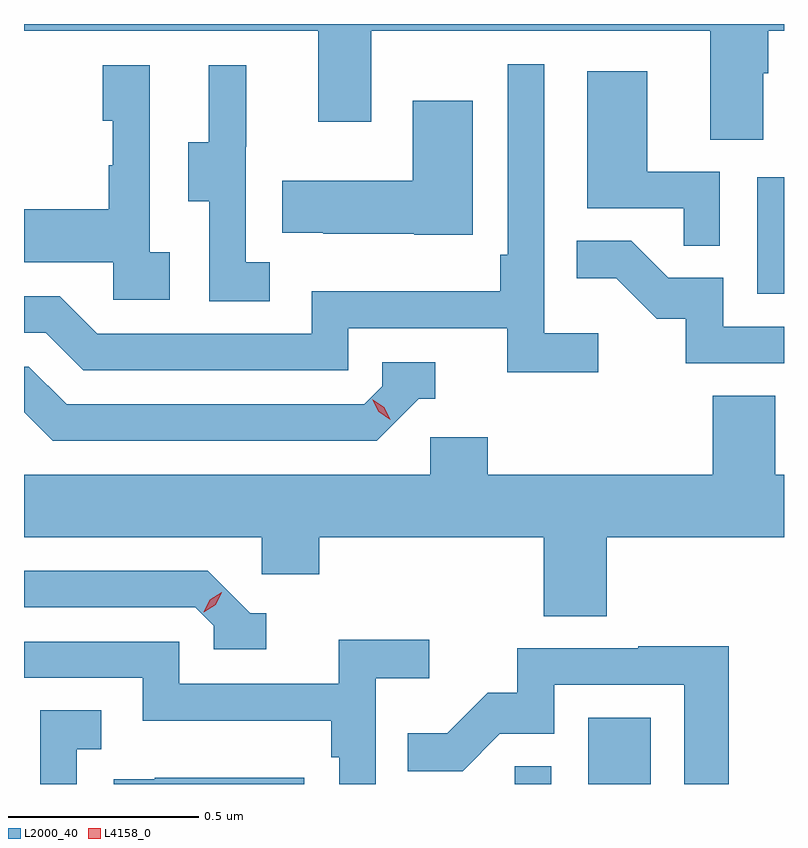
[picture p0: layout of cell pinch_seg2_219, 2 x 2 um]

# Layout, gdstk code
import gdstk
lib = gdstk.Library(unit=1e-6, precision=1e-09)
def R(c, l, rs):  # rectangles x0, y0, x1, y1
    for r in rs: c.add(gdstk.rectangle(r[:2], r[2:], *l))
def P(c, l, *ps):  # polygons
    for p in ps: c.add(gdstk.Polygon(p, *l))
L2000_40 = (2000, 40)
L4158_0 = (4158, 0)

pinch_seg2_219 = lib.new_cell('pinch_seg2_219')
R(pinch_seg2_219, L2000_40, [(954.157,646.986,954.252,647.033), (954.35,646.986,954.514,647.161), (954.794,648.276,954.865,648.583)])
P(pinch_seg2_219, L2000_40, [(954.811,648.856),(954.824,648.856),(954.824,648.968),(954.865,648.968),(954.865,648.986),(952.865,648.986),(952.865,648.968),(953.639,648.968),(953.639,648.729),(953.779,648.729),(953.779,648.968),(954.671,648.968),(954.671,648.682),(954.811,648.682)],
  [(954.376,648.172),(954.234,648.172),(954.234,648.88),(954.138,648.88),(954.138,648.379),(954.118,648.379),(954.118,648.283),(953.622,648.283),(953.622,648.171),(953.058,648.171),(952.959,648.27),(952.865,648.27),(952.865,648.174),(952.922,648.174),(953.021,648.075),(953.718,648.075),(953.718,648.186),(954.137,648.186),(954.137,648.07),(954.376,648.07)],
  [(953.248,648.386),(953.196,648.386),(953.196,648.877),(953.072,648.877),(953.072,648.732),(953.098,648.732),(953.098,648.614),(953.088,648.614),(953.088,648.499),(952.865,648.499),(952.865,648.359),(953.1,648.359),(953.1,648.261),(953.248,648.261)],
  [(953.512,648.359),(953.448,648.359),(953.448,648.663),(953.45,648.663),(953.45,648.877),(953.351,648.877),(953.351,648.675),(953.297,648.675),(953.297,648.52),(953.352,648.52),(953.352,648.256),(953.512,648.256)],
  [(954.696,648.597),(954.505,648.597),(954.505,648.862),(954.347,648.862),(954.347,648.501),(954.601,648.501),(954.601,648.403),(954.696,648.403)],
  [(954.046,648.784),(953.888,648.784),(953.888,648.574),(953.545,648.574),(953.545,648.437),(953.653,648.437),(953.653,648.434),(953.892,648.434),(953.892,648.431),(954.046,648.431)],
  [(954.865,648.189),(954.705,648.189),(954.705,648.318),(954.561,648.318),(954.463,648.416),(954.319,648.416),(954.319,648.317),(954.423,648.317),(954.53,648.21),(954.607,648.21),(954.607,648.093),(954.865,648.093)],
  [(953.904,648),(953.947,648),(953.947,648.096),(953.808,648.096),(953.808,648.033),(953.76,647.985),(952.977,647.985),(952.878,648.084),(952.865,648.084),(952.865,647.964),(952.94,647.889),(953.793,647.889)],
  [(954.398,647.636),(954.865,647.636),(954.865,647.8),(954.842,647.8),(954.842,648.008),(954.677,648.008),(954.677,647.8),(954.086,647.8),(954.086,647.898),(953.934,647.898),(953.934,647.8),(952.865,647.8),(952.865,647.636),(953.49,647.636),(953.49,647.538),(953.642,647.538),(953.642,647.636),(954.233,647.636),(954.233,647.428),(954.398,647.428)],
  [(953.503,647.436),(953.46,647.436),(953.349,647.547),(952.865,647.547),(952.865,647.451),(953.316,647.451),(953.364,647.403),(953.364,647.34),(953.503,647.34)],
  [(953.79,647.264),(953.932,647.264),(953.932,647.366),(953.693,647.366),(953.693,647.25),(953.274,647.25),(953.274,647.361),(952.865,647.361),(952.865,647.265),(953.178,647.265),(953.178,647.153),(953.674,647.153),(953.674,647.057),(953.694,647.057),(953.694,646.986),(953.79,646.986)],
  [(954.719,647.348),(954.481,647.348),(954.481,647.343),(954.163,647.343),(954.163,647.226),(954.086,647.226),(953.979,647.119),(953.875,647.119),(953.875,647.02),(954.019,647.02),(954.117,647.118),(954.261,647.118),(954.261,647.247),(954.603,647.247),(954.603,646.986),(954.719,646.986)],
  [(953.004,647.077),(953.068,647.077),(953.068,647.18),(952.908,647.18),(952.908,646.986),(953.004,646.986)],
  [(953.602,647.002),(953.209,647.002),(953.209,646.999),(953.101,646.999),(953.101,646.986),(953.602,646.986)])
P(pinch_seg2_219, L4158_0, [(953.338,647.438),(953.338,647.439),(953.354,647.471),(953.385,647.491),(953.386,647.491),(953.386,647.491),(953.369,647.458),(953.338,647.438)],
  [(953.829,647.945),(953.798,647.965),(953.782,647.998),(953.782,647.998),(953.782,647.998),(953.813,647.978),(953.829,647.945),(953.829,647.945)])

lib.write_gds('pinch_seg2_219.gds')
